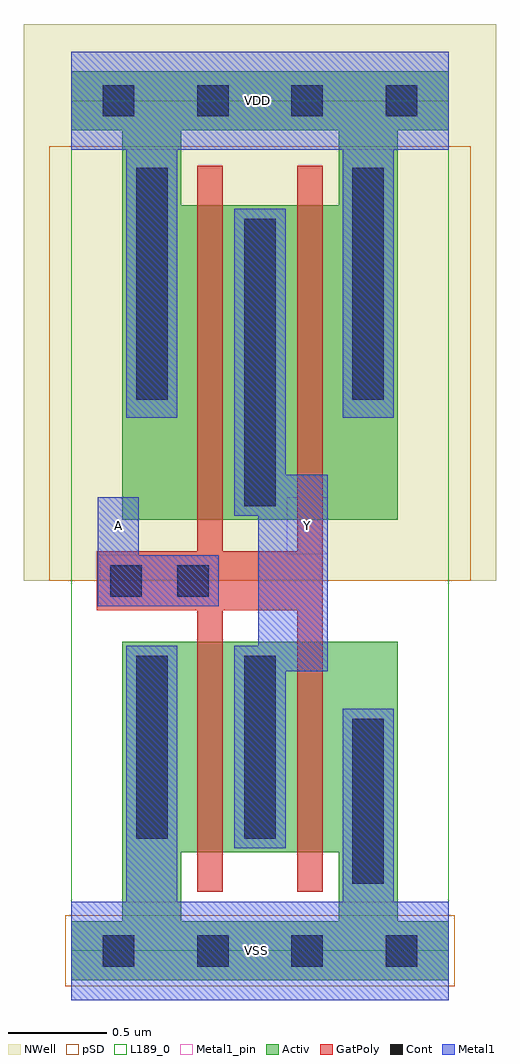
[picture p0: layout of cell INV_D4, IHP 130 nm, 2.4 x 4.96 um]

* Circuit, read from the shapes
.subckt INV_D4 A VDD VSS Y
XM1 Y A VSS VSS sg13_lv_nmos w=1.07u l=0.13u m=2
XM2 Y A VDD VDD sg13_lv_pmos w=1.6u l=0.13u m=2
.ends

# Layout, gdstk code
import gdstk
lib = gdstk.Library(unit=1e-6, precision=1e-09)
def R(c, l, rs):  # rectangles x0, y0, x1, y1
    for r in rs: c.add(gdstk.rectangle(r[:2], r[2:], *l))
def A(c, l, x, y, w, h, nx, ny, dx, dy):  # array of equal rectangles
    R(c, l, [(x+i*dx, y+j*dy, x+i*dx+w, y+j*dy+h) for i in range(nx) for j in range(ny)])
def P(c, l, *ps):  # polygons
    for p in ps: c.add(gdstk.Polygon(p, *l))
Activ = (1, 0)
GatPoly = (5, 0)
Cont = (6, 0)
Metal1 = (8, 0)
Metal1_pin = (8, 2)
pSD = (14, 0)
NWell = (31, 0)
L189_0 = (189, 0)

inv_d4 = lib.new_cell('INV_D4')
P(inv_d4, Activ, [(0,4.17),(1.36,4.17),(1.36,3.79),(0.56,3.79),(0.56,4.17),(0.26,4.17),(0.26,2.19),(1.66,2.19),(1.66,4.17),(1.92,4.17),(1.92,4.47),(0,4.47)],
  [(1.66,1.57),(0.26,1.57),(0.26,0.15),(0.56,0.15),(0.56,0.5),(1.36,0.5),(1.36,0.15),(0.56,0.15),(0.26,0.15),(0,0.15),(0,-0.15),(1.92,-0.15),(1.92,0.15),(1.66,0.15)])
P(inv_d4, GatPoly, [(1.15,0.3),(1.28,0.3),(1.28,3.99),(1.15,3.99),(1.15,2.03),(0.77,2.03),(0.77,3.99),(0.64,3.99),(0.64,2.03),(0.13,2.03),(0.13,1.73),(0.64,1.73),(0.64,0.3),(0.77,0.3),(0.77,1.73),(1.15,1.73)])
A(inv_d4, Cont, 0.16, -0.08, 0.16, 0.16, 4, 2, 0.48, 4.32)
R(inv_d4, Cont, [(1.43,0.34,1.59,1.18), (0.33,0.57,0.49,1.5), (0.88,0.57,1.04,1.5), (0.2,1.8,0.36,1.96), (0.54,1.8,0.7,1.96), (0.88,2.26,1.04,3.72), (0.33,2.8,0.49,3.98), (1.43,2.8,1.59,3.98)])
P(inv_d4, Metal1, [(0.54,2.71),(0.54,4.07),(1.38,4.07),(1.38,2.71),(1.64,2.71),(1.64,4.07),(1.92,4.07),(1.92,4.57),(0,4.57),(0,4.07),(0.28,4.07),(0.28,2.71)],
  [(1.305,1.42),(1.305,2.42),(1.09,2.42),(1.09,3.77),(0.83,3.77),(0.83,2.21),(0.95,2.21),(0.95,1.55),(0.83,1.55),(0.83,0.52),(1.09,0.52),(1.09,1.42)],
  [(0.75,1.75),(0.75,2.01),(0.345,2.01),(0.345,2.305),(0.135,2.305),(0.135,1.75)],
  [(0,-0.25),(1.92,-0.25),(1.92,0.25),(1.64,0.25),(1.64,1.23),(1.38,1.23),(1.38,0.25),(0.54,0.25),(0.54,1.55),(0.28,1.55),(0.28,0.25),(0,0.25)])
R(inv_d4, Metal1_pin, [(0,-0.25,1.92,0.25), (0.135,2.01,0.345,2.305), (1.095,2.015,1.305,2.305), (0,4.07,1.92,4.57)])
R(inv_d4, pSD, [(-0.03,-0.18,1.95,0.18), (-0.11,1.88,2.03,4.09)])
R(inv_d4, NWell, [(-0.24,1.88,2.16,4.71)])
R(inv_d4, L189_0, [(0,0,1.92,4.32)])
inv_d4.add(gdstk.Label('VDD', (0.945,4.32), layer=8, texttype=25))
inv_d4.add(gdstk.Label('VSS', (0.94,0), layer=8, texttype=25))
inv_d4.add(gdstk.Label('A', (0.24,2.16), layer=8, texttype=25))
inv_d4.add(gdstk.Label('Y', (1.2,2.16), layer=8, texttype=25))

lib.write_gds('INV_D4.gds')
